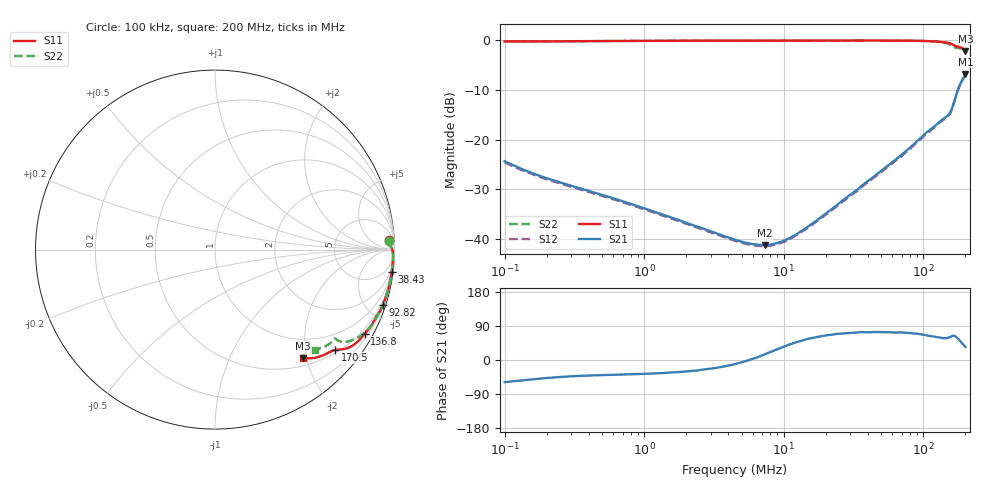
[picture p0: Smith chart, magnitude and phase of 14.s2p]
#  HZ  S  RI  R  50.00
! Rohde & Schwarz Vector Network Analyzer
! Rohde-Schwarz,ZNLE6-2Port,1323001256200024,1.71.1.10-23.02.1.238
! Created: UTC 4/8/2025, 4:34:17 AM
! freq[Hz]  re:S11  im:S11  re:S21  im:S21  re:S12  im:S12  re:S22  im:S22
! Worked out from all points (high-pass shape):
!   1001 points, 100 kHz to 200 MHz, reference 50 ohm
!   highest |S21| = -6.79 dB at 200 MHz (marker M1); lowest = -41.2 dB at 7.33 MHz (marker M2)
!   |S21| within 3 dB of the highest: 177.6 MHz to end of sweep
!   lowest |S11| = -2.2 dB at 200 MHz (marker M3), VSWR 8.03, Z = 31.6 - j96.8 ohm
!   |S11| at or under -10 dB: nowhere
!   |S22| runs from -2.1 to -0.1 dB; largest |S21 - S12| = 0.007
!   S11 on the Smith chart (normalised r, x): 100 kHz: 16, +28; 38.43 MHz: 1, -16; 92.82 MHz: 0.29, -6.18; 136.8 MHz: 0.34, -3.79; 170.5 MHz: 0.57, -2.66; 200 MHz: 0.63, -1.94
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100000  0.9686 0.0513  0.0317 -0.0517  0.0309 -0.0505  0.9695 0.05
174170.7  0.9718 0.0327  0.0284 -0.0333  0.0277 -0.0325  0.9726 0.0319
355854.1  0.9762 0.0204  0.0239 -0.0213  0.0233 -0.0208  0.9769 0.0199
1266322  0.9851 0.00733  0.015 -0.0104  0.0146 -0.0102  0.9855 0.00736
4472136  0.9901 -0.00922  0.00968 -0.00185  0.0094 -0.00192  0.9908 -0.00788
5879658  0.9908 -0.0142  0.00893 0.000275  0.00871 0.000201  0.9914 -0.013
7329628  0.9914 -0.0199  0.00839 0.00228  0.00825 0.00203  0.9916 -0.0182
8796434  0.9919 -0.0251  0.00803 0.00413  0.008 0.0038  0.992 -0.0232
1.055678e7  0.9916 -0.031  0.0078 0.00618  0.00766 0.00593  0.9921 -0.0292
1.591428e7  0.9915 -0.0493  0.00757 0.0121  0.00751 0.0117  0.9919 -0.0465
3.843319e7  0.9847 -0.124  0.0107 0.0352  0.0105 0.0342  0.9856 -0.1179
5.663162e7  0.9739 -0.1855  0.016 0.0534  0.0167 0.0516  0.976 -0.1758
7.38916e7  0.9584 -0.2438  0.0234 0.0716  0.0243 0.0691  0.9615 -0.2322
9.281667e7  0.9354 -0.3102  0.0366 0.0933  0.0374 0.0902  0.9403 -0.2959
1.174784e8  0.8867 -0.3956  0.062 0.1174  0.0621 0.1139  0.897 -0.3832
1.367661e8  0.8342 -0.4696  0.0847 0.1349  0.0841 0.1307  0.8383 -0.4569
1.475668e8  0.7946 -0.5131  0.0907 0.1459  0.0892 0.142  0.7891 -0.4943
1.544525e8  0.7589 -0.539  0.091 0.1604  0.0899 0.1569  0.7519 -0.5082
1.616595e8  0.7147 -0.5548  0.0947 0.1904  0.0953 0.1859  0.7074 -0.514
1.704937e8  0.6709 -0.5588  0.1288 0.2408  0.1288 0.2352  0.6724 -0.4976
1.82565e8  0.621 -0.5807  0.224 0.2756  0.2221 0.2694  0.6537 -0.5121
2e8  0.491 -0.6041  0.3777 0.2581  0.3718 0.2545  0.5559 -0.5569
